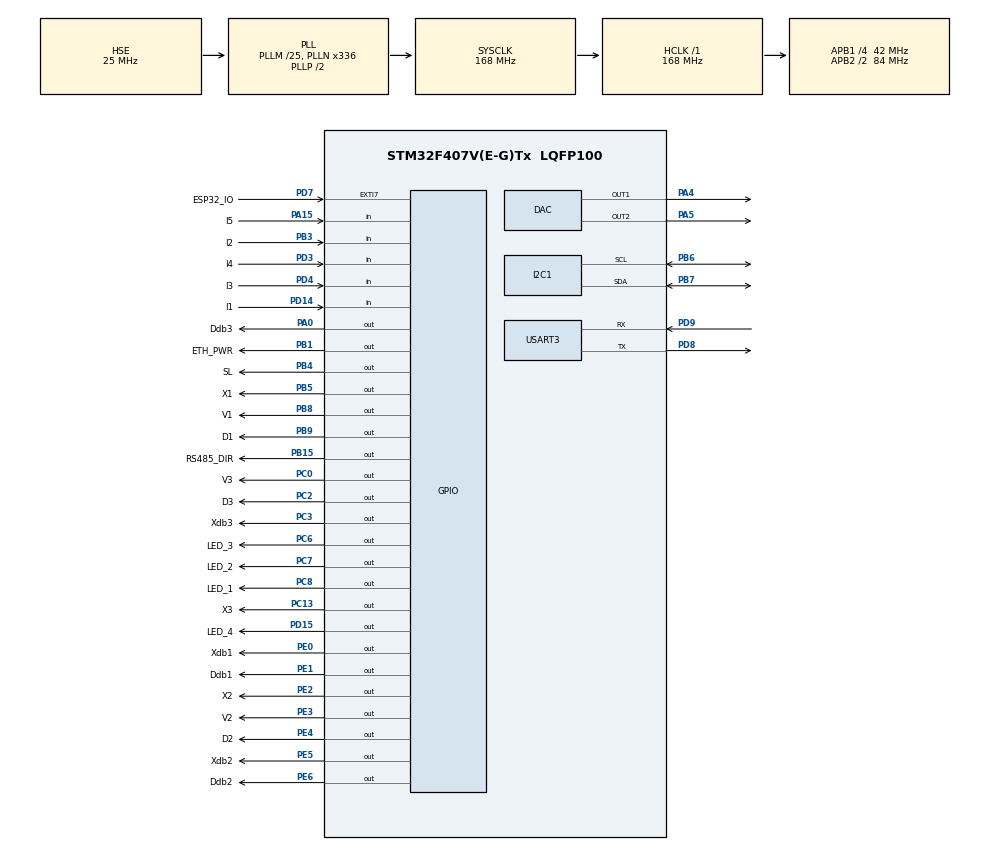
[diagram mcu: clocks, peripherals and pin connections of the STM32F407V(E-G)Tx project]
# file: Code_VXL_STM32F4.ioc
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FREERTOS.Tasks01=MainTask,0,128,StartMainTask,Default,NULL,Dynamic,NULL,NULL;ConnectivityTas,-3,128,StartConnectivityTask,Default,NULL,Dynamic,NULL,NULL
Mcu.Family=STM32F4
Mcu.Name=STM32F407V(E-G)Tx
Mcu.Package=LQFP100
NVIC.PriorityGroup=NVIC_PRIORITYGROUP_4
NVIC.TIM7_IRQn=true\:5\:0\:false\:false\:true\:true\:true\:true\:true
NVIC.TIM8_TRG_COM_TIM14_IRQn=true\:15\:0\:false\:false\:true\:false\:false\:true\:true
NVIC.TimeBase=TIM8_TRG_COM_TIM14_IRQn
NVIC.TimeBaseIP=TIM14
NVIC.USART3_IRQn=true\:5\:0\:false\:false\:true\:true\:true\:true\:true
PA0-WKUP.GPIO_Label=Ddb3
PA0-WKUP.Signal=GPIO_Output
PA1.Signal=ETH_REF_CLK
PA10.Signal=USART1_RX
PA13.Mode=Serial_Wire
PA13.Signal=SYS_JTMS-SWDIO
PA14.Mode=Serial_Wire
PA14.Signal=SYS_JTCK-SWCLK
PA15.GPIO_Label=I5
PA15.Signal=GPIO_Input
PA2.Signal=ETH_MDIO
PA3.Signal=ADCx_IN3
PA4.Signal=COMP_DAC1_group
PA5.Signal=COMP_DAC2_group
PA6.Signal=ADCx_IN6
PA7.Signal=ETH_CRS_DV
PA9.Signal=USART1_TX
PB1.GPIO_Label=ETH_PWR
PB1.Signal=GPIO_Output
PB11.Signal=ETH_TX_EN
PB12.Signal=ETH_TXD0
PB13.Signal=ETH_TXD1
PB15.GPIO_Label=RS485_DIR
PB15.Signal=GPIO_Output
PB3.GPIO_Label=I2
PB3.Signal=GPIO_Input
PB4.GPIO_Label=SL
PB4.Signal=GPIO_Output
PB5.GPIO_Label=X1
PB5.Signal=GPIO_Output
PB6.Mode=I2C
PB6.Signal=I2C1_SCL
PB7.Mode=I2C
PB7.Signal=I2C1_SDA
PB8.GPIO_Label=V1
PB8.Signal=GPIO_Output
PB9.GPIO_Label=D1
PB9.Signal=GPIO_Output
PC0.GPIO_Label=V3
PC0.Signal=GPIO_Output
PC13-ANTI_TAMP.GPIO_Label=X3
PC13-ANTI_TAMP.Signal=GPIO_Output
PC14-OSC32_IN.Mode=LSE-External-Oscillator
PC14-OSC32_IN.Signal=RCC_OSC32_IN
PC15-OSC32_OUT.Mode=LSE-External-Oscillator
PC15-OSC32_OUT.Signal=RCC_OSC32_OUT
PC2.GPIO_Label=D3
PC2.Signal=GPIO_Output
PC3.GPIO_Label=Xdb3
PC3.Signal=GPIO_Output
PC4.Signal=ETH_RXD0
PC5.Signal=ETH_RXD1
PC6.GPIO_Label=LED_3
PC6.Signal=GPIO_Output
PC7.GPIO_Label=LED_2
PC7.Signal=GPIO_Output
PC8.GPIO_Label=LED_1
PC8.Signal=GPIO_Output
PD14.GPIO_Label=I1
PD14.Signal=GPIO_Input
PD15.GPIO_Label=LED_4
PD15.Signal=GPIO_Output
PD3.GPIO_Label=I4
PD3.Signal=GPIO_Input
PD4.GPIO_Label=I3
PD4.Signal=GPIO_Input
PD5.Signal=USART2_TX
PD6.Signal=USART2_RX
PD7.GPIO_Label=ESP32_IO
PD7.Signal=GPXTI7
PD8.Mode=Asynchronous
PD8.Signal=USART3_TX
PD9.Mode=Asynchronous
PD9.Signal=USART3_RX
PE0.GPIO_Label=Xdb1
PE0.Signal=GPIO_Output
PE1.GPIO_Label=Ddb1
PE1.Signal=GPIO_Output
PE2.GPIO_Label=X2
PE2.Signal=GPIO_Output
PE3.GPIO_Label=V2
PE3.Signal=GPIO_Output
PE4.GPIO_Label=D2
PE4.Signal=GPIO_Output
PE5.GPIO_Label=Xdb2
PE5.Signal=GPIO_Output
PE6.GPIO_Label=Ddb2
PE6.Signal=GPIO_Output
PH0-OSC_IN.Mode=HSE-External-Oscillator
PH0-OSC_IN.Signal=RCC_OSC_IN
PH1-OSC_OUT.Mode=HSE-External-Oscillator
PH1-OSC_OUT.Signal=RCC_OSC_OUT
ProjectManager.HeapSize=0x200
ProjectManager.StackSize=0x1000
ProjectManager.TargetToolchain=MDK-ARM V5
RCC.48MHZClocksFreq_Value=84000000
RCC.AHBFreq_Value=168000000
RCC.APB1CLKDivider=RCC_HCLK_DIV4
RCC.APB1Freq_Value=42000000
RCC.APB1TimFreq_Value=84000000
RCC.APB2CLKDivider=RCC_HCLK_DIV2
RCC.APB2Freq_Value=84000000
RCC.APB2TimFreq_Value=168000000
RCC.CortexFreq_Value=168000000
RCC.HCLKFreq_Value=168000000
RCC.HSE_VALUE=25000000
RCC.HSI_VALUE=16000000
RCC.PLLM=25
RCC.PLLN=336
RCC.PLLSourceVirtual=RCC_PLLSOURCE_HSE
RCC.RCC_RTC_Clock_Source=RCC_RTCCLKSOURCE_LSE
RCC.RCC_RTC_Clock_SourceVirtual=RCC_RTCCLKSOURCE_LSE
RCC.SYSCLKFreq_VALUE=168000000
RCC.SYSCLKSource=RCC_SYSCLKSOURCE_PLLCLK
RCC.VCOOutputFreq_Value=336000000
RTC.Date=14
RTC.Month=RTC_MONTH_APRIL
RTC.WeekDay=RTC_WEEKDAY_TUESDAY
RTC.Year=26
SH.ADCx_IN3.0=ADC1_IN3
SH.ADCx_IN6.0=ADC1_IN6
SH.COMP_DAC1_group.0=DAC_OUT1,DAC_OUT1
SH.COMP_DAC2_group.0=DAC_OUT2,DAC_OUT2
TIM7.Period=8400
USART3.VirtualMode=VM_ASYNC
VP_FREERTOS_VS_CMSIS_V1.Mode=CMSIS_V1
VP_RTC_VS_RTC_Activate.Mode=RTC_Enabled
VP_RTC_VS_RTC_Calendar.Mode=RTC_Calendar
VP_SYS_VS_tim14.Mode=TIM14
VP_TIM7_VS_ClockSourceINT.Mode=Enable_Timer
board=custom

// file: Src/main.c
/* USER CODE BEGIN Header */
/**
  ******************************************************************************
  * @file           : main.c
  * @brief          : Main program body
  ******************************************************************************
  * @attention
  *
  * Copyright (c) 2026 STMicroelectronics.
  * All rights reserved.
  *
  * This software is licensed under terms that can be found in the LICENSE file
  * in the root directory of this software component.
  * If no LICENSE file comes with this software, it is provided AS-IS.
  *
  ******************************************************************************
  */
/* USER CODE END Header */
#include "main.h"
#include "cmsis_os.h"

/* USER CODE BEGIN Includes */
#include <string.h>
#include "board_io.h"
#include "app_digital_input.h"
#include "app_rs485.h"
#include "app_DGT.h"
#include "app_I2CvsESP32.h"
#include "app_WeconHMI.h"
#include "app_flash.h"
/* USER CODE END Includes */

/* USER CODE BEGIN PD */
	#define I2C_FRAME_SIZE 22U

	#define TIME_2_5S_COUNT   25000u   // 2.5s / 0.1ms
	#define TIME_5S_COUNT     50000u   // 5s / 0.1ms
	#define TIME_10S_COUNT    100000u  // 10s / 0.1ms
/* USER CODE END PD */

DAC_HandleTypeDef hdac;

I2C_HandleTypeDef hi2c1;

RTC_HandleTypeDef hrtc;

TIM_HandleTypeDef htim7;

UART_HandleTypeDef huart3;

osThreadId MainTaskHandle;
osThreadId ConnectivityTasHandle;
/* USER CODE BEGIN PV */

// I2C variables
  uint8_t txData[22] = "";
  uint8_t I2C_Count = 150;

// RTC variables
  RTC_TimeTypeDef setTime = {0};
  RTC_DateTypeDef setDate = {0};
  RTC_TimeTypeDef getTime = {0};
  RTC_DateTypeDef getDate = {0};

// DGT variables
  DGT_Settings_t  g_dgtData = {0};
  volatile uint16_t g_input_ok = 0, g_ResetRTC_count = 0;
	volatile uint32_t g_dgt_count = 0, g_delay_count = 0;
  volatile uint32_t g_Walk_count;
	uint16_t g_realTime_m = 0, g_realTime_h = 0;
  uint8_t g_Light_Status = 0;
  uint8_t g_Voltage_H = 0, g_Voltage_L = 0;
  uint8_t g_Current_H = 0, g_Current_L = 0;

// DAC variables
	float g_dac_voltage = 1.5f;
	uint32_t g_dac_value;
	const uint32_t DAC_MAXDIGITALVALUE_12BIT = 0xfff;
	const uint32_t DAC_MAXDIGITALVALUE_8BIT  = 0xff;
	const float Vref = 3.3f;

// input filer variables
  static volatile uint8_t tim7_1ms_div = 0u;
  uint8_t I1_F, I2_F, I3_F, I4_F, I5_F;

/* USER CODE END PV */

void SystemClock_Config(void);
static void MX_GPIO_Init(void);
static void MX_TIM7_Init(void);
static void MX_I2C1_Init(void);
static void MX_RTC_Init(void);
static void MX_DAC_Init(void);
static void MX_USART3_UART_Init(void);
void StartMainTask(void const * argument);
void StartConnectivityTask(void const * argument);

int main(void)
{

  /* MCU Configuration--------------------------------------------------------*/

  /* Reset of all peripherals, Initializes the Flash interface and the Systick. */
  HAL_Init();

  /* Configure the system clock */
  SystemClock_Config();

  /* Initialize all configured peripherals */
  MX_GPIO_Init();
  MX_TIM7_Init();
  MX_I2C1_Init();
  MX_RTC_Init();
  MX_DAC_Init();
  MX_USART3_UART_Init();
  /* USER CODE BEGIN 2 */
	// common
	HAL_TIM_Base_Start_IT(&htim7);
	HAL_DAC_Start(&hdac, DAC_CHANNEL_1);
	HAL_DAC_Start(&hdac, DAC_CHANNEL_2);

	// Read settings from Flash app
	(void)AppFlash_LoadSettings(&g_dgtData);
	HAL_Delay(1);

	// App init
	AppDigitalInput_Init();
	AppRs485_Config_t rs485_cfg = {
		.huart    = &huart3,
		.dir_port = RS485_DIR_GPIO_Port,
		.dir_pin  = RS485_DIR_Pin,
		.slave_id = APP_RS485_HMI_ID,
	};
	AppRs485_Init(&rs485_cfg);

  // AppI2CvsESP32_Config_t i2c_esp32_cfg = {
  //   .hi2c = &hi2c1,
  //   .slave_addr_7bit = APP_I2CVSESP32_ADDR_7BIT,
  //   .timeout_ms = 100U,
  // };
  // AppI2CvsESP32_Init(&i2c_esp32_cfg);

	// Ethernet
	ETH_PWR_0;

  /* USER CODE END 2 */

  /* Create the thread(s) */
  /* definition and creation of MainTask */
  osThreadDef(MainTask, StartMainTask, osPriorityNormal, 0, 128);
  MainTaskHandle = osThreadCreate(osThread(MainTask), NULL);

  /* definition and creation of ConnectivityTas */
  osThreadDef(ConnectivityTas, StartConnectivityTask, osPriorityIdle, 0, 128);
  ConnectivityTasHandle = osThreadCreate(osThread(ConnectivityTas), NULL);

  /* Start scheduler */
  osKernelStart();

  /* We should never get here as control is now taken by the scheduler */

  /* Infinite loop */
  while (1)
  {

  }
}

void SystemClock_Config(void)
{
  RCC_OscInitTypeDef RCC_OscInitStruct = {0};
  RCC_ClkInitTypeDef RCC_ClkInitStruct = {0};

  /** Configure the main internal regulator output voltage
  */
  __HAL_RCC_PWR_CLK_ENABLE();
  __HAL_PWR_VOLTAGESCALING_CONFIG(PWR_REGULATOR_VOLTAGE_SCALE1);

  /** Initializes the RCC Oscillators according to the specified parameters
  * in the RCC_OscInitTypeDef structure.
  */
  RCC_OscInitStruct.OscillatorType = RCC_OSCILLATORTYPE_HSE|RCC_OSCILLATORTYPE_LSE;
  RCC_OscInitStruct.HSEState = RCC_HSE_ON;
  RCC_OscInitStruct.LSEState = RCC_LSE_ON;
  RCC_OscInitStruct.PLL.PLLState = RCC_PLL_ON;
  RCC_OscInitStruct.PLL.PLLSource = RCC_PLLSOURCE_HSE;
  RCC_OscInitStruct.PLL.PLLM = 25;
  RCC_OscInitStruct.PLL.PLLN = 336;
  RCC_OscInitStruct.PLL.PLLP = RCC_PLLP_DIV2;
  RCC_OscInitStruct.PLL.PLLQ = 4;
  if (HAL_RCC_OscConfig(&RCC_OscInitStruct) != HAL_OK)
  {
    Error_Handler();
  }

  /** Initializes the CPU, AHB and APB buses clocks
  */
  RCC_ClkInitStruct.ClockType = RCC_CLOCKTYPE_HCLK|RCC_CLOCKTYPE_SYSCLK
                              |RCC_CLOCKTYPE_PCLK1|RCC_CLOCKTYPE_PCLK2;
  RCC_ClkInitStruct.SYSCLKSource = RCC_SYSCLKSOURCE_PLLCLK;
  RCC_ClkInitStruct.AHBCLKDivider = RCC_SYSCLK_DIV1;
  RCC_ClkInitStruct.APB1CLKDivider = RCC_HCLK_DIV4;
  RCC_ClkInitStruct.APB2CLKDivider = RCC_HCLK_DIV2;

  if (HAL_RCC_ClockConfig(&RCC_ClkInitStruct, FLASH_LATENCY_5) != HAL_OK)
  {
    Error_Handler();
  }
}

static void MX_DAC_Init(void)
{

  DAC_ChannelConfTypeDef sConfig = {0};

  /** DAC Initialization
  */
  hdac.Instance = DAC;
  if (HAL_DAC_Init(&hdac) != HAL_OK)
  {
    Error_Handler();
  }

  /** DAC channel OUT1 config
  */
  sConfig.DAC_Trigger = DAC_TRIGGER_NONE;
  sConfig.DAC_OutputBuffer = DAC_OUTPUTBUFFER_ENABLE;
  if (HAL_DAC_ConfigChannel(&hdac, &sConfig, DAC_CHANNEL_1) != HAL_OK)
  {
    Error_Handler();
  }

  /** DAC channel OUT2 config
  */
  if (HAL_DAC_ConfigChannel(&hdac, &sConfig, DAC_CHANNEL_2) != HAL_OK)
  {
    Error_Handler();
  }

}

static void MX_I2C1_Init(void)
{

  hi2c1.Instance = I2C1;
  hi2c1.Init.ClockSpeed = 100000;
  hi2c1.Init.DutyCycle = I2C_DUTYCYCLE_2;
  hi2c1.Init.OwnAddress1 = 0;
  hi2c1.Init.AddressingMode = I2C_ADDRESSINGMODE_7BIT;
  hi2c1.Init.DualAddressMode = I2C_DUALADDRESS_DISABLE;
  hi2c1.Init.OwnAddress2 = 0;
  hi2c1.Init.GeneralCallMode = I2C_GENERALCALL_DISABLE;
  hi2c1.Init.NoStretchMode = I2C_NOSTRETCH_DISABLE;
  if (HAL_I2C_Init(&hi2c1) != HAL_OK)
  {
    Error_Handler();
  }

}

static void MX_RTC_Init(void)
{

  RTC_TimeTypeDef sTime = {0};
  RTC_DateTypeDef sDate = {0};

  /** Initialize RTC Only
  */
  hrtc.Instance = RTC;
  hrtc.Init.HourFormat = RTC_HOURFORMAT_24;
  hrtc.Init.AsynchPrediv = 127;
  hrtc.Init.SynchPrediv = 255;
  hrtc.Init.OutPut = RTC_OUTPUT_DISABLE;
  hrtc.Init.OutPutPolarity = RTC_OUTPUT_POLARITY_HIGH;
  hrtc.Init.OutPutType = RTC_OUTPUT_TYPE_OPENDRAIN;
  if (HAL_RTC_Init(&hrtc) != HAL_OK)
  {
    Error_Handler();
  }

  /* USER CODE BEGIN Check_RTC_BKUP */
uint32_t bkp = HAL_RTCEx_BKUPRead(&hrtc, RTC_BKP_DR1);
  if (bkp != 0x12) {
  /* USER CODE END Check_RTC_BKUP */

  /** Initialize RTC and set the Time and Date
  */
  sTime.Hours = 0x0;
  sTime.Minutes = 0x0;
  sTime.Seconds = 0x0;
  sTime.DayLightSaving = RTC_DAYLIGHTSAVING_NONE;
  sTime.StoreOperation = RTC_STOREOPERATION_RESET;
  if (HAL_RTC_SetTime(&hrtc, &sTime, RTC_FORMAT_BCD) != HAL_OK)
  {
    Error_Handler();
  }
  sDate.WeekDay = RTC_WEEKDAY_TUESDAY;
  sDate.Month = RTC_MONTH_APRIL;
  sDate.Date = 0x14;
  sDate.Year = 0x26;

  if (HAL_RTC_SetDate(&hrtc, &sDate, RTC_FORMAT_BCD) != HAL_OK)
  {
    Error_Handler();
  }
  /* USER CODE BEGIN RTC_Init 2 */
	HAL_RTCEx_BKUPWrite(&hrtc, RTC_BKP_DR1, 0x12);
  }

  /* USER CODE END RTC_Init 2 */

}

static void MX_TIM7_Init(void)
{

  TIM_MasterConfigTypeDef sMasterConfig = {0};

  htim7.Instance = TIM7;
  htim7.Init.Prescaler = 0;
  htim7.Init.CounterMode = TIM_COUNTERMODE_UP;
  htim7.Init.Period = 8400;
  htim7.Init.AutoReloadPreload = TIM_AUTORELOAD_PRELOAD_DISABLE;
  if (HAL_TIM_Base_Init(&htim7) != HAL_OK)
  {
    Error_Handler();
  }
  sMasterConfig.MasterOutputTrigger = TIM_TRGO_RESET;
  sMasterConfig.MasterSlaveMode = TIM_MASTERSLAVEMODE_DISABLE;
  if (HAL_TIMEx_MasterConfigSynchronization(&htim7, &sMasterConfig) != HAL_OK)
  {
    Error_Handler();
  }

}

static void MX_USART3_UART_Init(void)
{

  huart3.Instance = USART3;
  huart3.Init.BaudRate = 115200;
  huart3.Init.WordLength = UART_WORDLENGTH_8B;
  huart3.Init.StopBits = UART_STOPBITS_1;
  huart3.Init.Parity = UART_PARITY_NONE;
  huart3.Init.Mode = UART_MODE_TX_RX;
  huart3.Init.HwFlowCtl = UART_HWCONTROL_NONE;
  huart3.Init.OverSampling = UART_OVERSAMPLING_16;
  if (HAL_UART_Init(&huart3) != HAL_OK)
  {
    Error_Handler();
  }

}

static void MX_GPIO_Init(void)
{
  GPIO_InitTypeDef GPIO_InitStruct = {0};

  /* GPIO Ports Clock Enable */
  __HAL_RCC_GPIOE_CLK_ENABLE();
  __HAL_RCC_GPIOC_CLK_ENABLE();
  __HAL_RCC_GPIOH_CLK_ENABLE();
  __HAL_RCC_GPIOA_CLK_ENABLE();
  __HAL_RCC_GPIOB_CLK_ENABLE();
  __HAL_RCC_GPIOD_CLK_ENABLE();

  /*Configure GPIO pin Output Level */
  HAL_GPIO_WritePin(GPIOE, X2_Pin|V2_Pin|D2_Pin|Xdb2_Pin
                          |Ddb2_Pin|Xdb1_Pin|Ddb1_Pin, GPIO_PIN_RESET);

  /*Configure GPIO pin Output Level */
  HAL_GPIO_WritePin(GPIOC, X3_Pin|V3_Pin|D3_Pin|Xdb3_Pin
                          |LED_3_Pin|LED_2_Pin|LED_1_Pin, GPIO_PIN_RESET);

  /*Configure GPIO pin Output Level */
  HAL_GPIO_WritePin(Ddb3_GPIO_Port, Ddb3_Pin, GPIO_PIN_RESET);

  /*Configure GPIO pin Output Level */
  HAL_GPIO_WritePin(GPIOB, ETH_PWR_Pin|RS485_DIR_Pin|SL_Pin|X1_Pin
                          |V1_Pin|D1_Pin, GPIO_PIN_RESET);

  /*Configure GPIO pin Output Level */
  HAL_GPIO_WritePin(LED_4_GPIO_Port, LED_4_Pin, GPIO_PIN_RESET);

  /*Configure GPIO pins : X2_Pin V2_Pin D2_Pin Xdb2_Pin
                           Ddb2_Pin Xdb1_Pin Ddb1_Pin */
  GPIO_InitStruct.Pin = X2_Pin|V2_Pin|D2_Pin|Xdb2_Pin
                          |Ddb2_Pin|Xdb1_Pin|Ddb1_Pin;
  GPIO_InitStruct.Mode = GPIO_MODE_OUTPUT_PP;
  GPIO_InitStruct.Pull = GPIO_NOPULL;
  GPIO_InitStruct.Speed = GPIO_SPEED_FREQ_LOW;
  HAL_GPIO_Init(GPIOE, &GPIO_InitStruct);

  /*Configure GPIO pins : X3_Pin V3_Pin D3_Pin Xdb3_Pin
                           LED_3_Pin LED_2_Pin LED_1_Pin */
  GPIO_InitStruct.Pin = X3_Pin|V3_Pin|D3_Pin|Xdb3_Pin
                          |LED_3_Pin|LED_2_Pin|LED_1_Pin;
  GPIO_InitStruct.Mode = GPIO_MODE_OUTPUT_PP;
  GPIO_InitStruct.Pull = GPIO_NOPULL;
  GPIO_InitStruct.Speed = GPIO_SPEED_FREQ_LOW;
  HAL_GPIO_Init(GPIOC, &GPIO_InitStruct);

  /*Configure GPIO pin : Ddb3_Pin */
  GPIO_InitStruct.Pin = Ddb3_Pin;
  GPIO_InitStruct.Mode = GPIO_MODE_OUTPUT_PP;
  GPIO_InitStruct.Pull = GPIO_NOPULL;
  GPIO_InitStruct.Speed = GPIO_SPEED_FREQ_LOW;
  HAL_GPIO_Init(Ddb3_GPIO_Port, &GPIO_InitStruct);

  /*Configure GPIO pins : PA1 PA2 PA7 */
  GPIO_InitStruct.Pin = GPIO_PIN_1|GPIO_PIN_2|GPIO_PIN_7;
  GPIO_InitStruct.Mode = GPIO_MODE_AF_PP;
  GPIO_InitStruct.Pull = GPIO_NOPULL;
  GPIO_InitStruct.Speed = GPIO_SPEED_FREQ_VERY_HIGH;
  GPIO_InitStruct.Alternate = GPIO_AF11_ETH;
  HAL_GPIO_Init(GPIOA, &GPIO_InitStruct);

  /*Configure GPIO pins : PA3 PA6 */
  GPIO_InitStruct.Pin = GPIO_PIN_3|GPIO_PIN_6;
  GPIO_InitStruct.Mode = GPIO_MODE_ANALOG;
  GPIO_InitStruct.Pull = GPIO_NOPULL;
  HAL_GPIO_Init(GPIOA, &GPIO_InitStruct);

  /*Configure GPIO pins : PC4 PC5 */
  GPIO_InitStruct.Pin = GPIO_PIN_4|GPIO_PIN_5;
  GPIO_InitStruct.Mode = GPIO_MODE_AF_PP;
  GPIO_InitStruct.Pull = GPIO_NOPULL;
  GPIO_InitStruct.Speed = GPIO_SPEED_FREQ_VERY_HIGH;
  GPIO_InitStruct.Alternate = GPIO_AF11_ETH;
  HAL_GPIO_Init(GPIOC, &GPIO_InitStruct);

  /*Configure GPIO pins : ETH_PWR_Pin RS485_DIR_Pin SL_Pin X1_Pin
                           V1_Pin D1_Pin */
  GPIO_InitStruct.Pin = ETH_PWR_Pin|RS485_DIR_Pin|SL_Pin|X1_Pin
                          |V1_Pin|D1_Pin;
  GPIO_InitStruct.Mode = GPIO_MODE_OUTPUT_PP;
  GPIO_InitStruct.Pull = GPIO_NOPULL;
  GPIO_InitStruct.Speed = GPIO_SPEED_FREQ_LOW;
  HAL_GPIO_Init(GPIOB, &GPIO_InitStruct);

  /*Configure GPIO pins : PB11 PB12 PB13 */
  GPIO_InitStruct.Pin = GPIO_PIN_11|GPIO_PIN_12|GPIO_PIN_13;
  GPIO_InitStruct.Mode = GPIO_MODE_AF_PP;
  GPIO_InitStruct.Pull = GPIO_NOPULL;
  GPIO_InitStruct.Speed = GPIO_SPEED_FREQ_VERY_HIGH;
  GPIO_InitStruct.Alternate = GPIO_AF11_ETH;
  HAL_GPIO_Init(GPIOB, &GPIO_InitStruct);

  /*Configure GPIO pins : I1_Pin I4_Pin I3_Pin */
  GPIO_InitStruct.Pin = I1_Pin|I4_Pin|I3_Pin;
  GPIO_InitStruct.Mode = GPIO_MODE_INPUT;
  GPIO_InitStruct.Pull = GPIO_NOPULL;
  HAL_GPIO_Init(GPIOD, &GPIO_InitStruct);

  /*Configure GPIO pin : LED_4_Pin */
  GPIO_InitStruct.Pin = LED_4_Pin;
  GPIO_InitStruct.Mode = GPIO_MODE_OUTPUT_PP;
  GPIO_InitStruct.Pull = GPIO_NOPULL;
  GPIO_InitStruct.Speed = GPIO_SPEED_FREQ_LOW;
  HAL_GPIO_Init(LED_4_GPIO_Port, &GPIO_InitStruct);

  /*Configure GPIO pins : PA9 PA10 */
  GPIO_InitStruct.Pin = GPIO_PIN_9|GPIO_PIN_10;
  GPIO_InitStruct.Mode = GPIO_MODE_AF_PP;
  GPIO_InitStruct.Pull = GPIO_NOPULL;
  GPIO_InitStruct.Speed = GPIO_SPEED_FREQ_VERY_HIGH;
  GPIO_InitStruct.Alternate = GPIO_AF7_USART1;
  HAL_GPIO_Init(GPIOA, &GPIO_InitStruct);

  /*Configure GPIO pin : I5_Pin */
  GPIO_InitStruct.Pin = I5_Pin;
  GPIO_InitStruct.Mode = GPIO_MODE_INPUT;
  GPIO_InitStruct.Pull = GPIO_NOPULL;
  HAL_GPIO_Init(I5_GPIO_Port, &GPIO_InitStruct);

  /*Configure GPIO pins : PD5 PD6 */
  GPIO_InitStruct.Pin = GPIO_PIN_5|GPIO_PIN_6;
  GPIO_InitStruct.Mode = GPIO_MODE_AF_PP;
  GPIO_InitStruct.Pull = GPIO_NOPULL;
  GPIO_InitStruct.Speed = GPIO_SPEED_FREQ_VERY_HIGH;
  GPIO_InitStruct.Alternate = GPIO_AF7_USART2;
  HAL_GPIO_Init(GPIOD, &GPIO_InitStruct);

  /*Configure GPIO pin : ESP32_IO_Pin */
  GPIO_InitStruct.Pin = ESP32_IO_Pin;
  GPIO_InitStruct.Mode = GPIO_MODE_IT_RISING;
  GPIO_InitStruct.Pull = GPIO_NOPULL;
  HAL_GPIO_Init(ESP32_IO_GPIO_Port, &GPIO_InitStruct);

  /*Configure GPIO pin : I2_Pin */
  GPIO_InitStruct.Pin = I2_Pin;
  GPIO_InitStruct.Mode = GPIO_MODE_INPUT;
  GPIO_InitStruct.Pull = GPIO_NOPULL;
  HAL_GPIO_Init(I2_GPIO_Port, &GPIO_InitStruct);

}

/* USER CODE BEGIN 4 */
void HAL_UART_RxCpltCallback(UART_HandleTypeDef *huart)
{
	AppRs485_RxCpltCallback(huart);
}

static uint8_t Check_Time_Event(uint32_t period_count, uint32_t *time_prev){
    uint32_t time_now = g_delay_count;

    if ((uint32_t)(time_now - *time_prev) >= period_count)
    {
        *time_prev += period_count;
        return 1u;
    }

    return 0u;
}

/* USER CODE END 4 */

void StartMainTask(void const * argument)
{
  /* USER CODE BEGIN 5 */

  /* Infinite loop */
  for(;;)
  {
    // Get Digital input status
    I1_F = AppDigitalInput_Check(DIGITAL_INPUT_SWITCH_1);
    I2_F = AppDigitalInput_Check(DIGITAL_INPUT_SWITCH_2);
    I3_F = AppDigitalInput_Check(DIGITAL_INPUT_SWITCH_3);
    I4_F = AppDigitalInput_Check(DIGITAL_INPUT_SWITCH_4);
    I5_F = AppDigitalInput_Check(DIGITAL_INPUT_SWITCH_5);

    if (g_dac_voltage>9.9) g_dac_voltage = 9.9f;
    g_dac_value = (uint32_t)((g_dac_voltage/3.0f) * 4095.0f / Vref); // g_dac_voltage 0..10V
    HAL_DAC_SetValue(&hdac, DAC_CHANNEL_1, DAC_ALIGN_12B_R, g_dac_value);
    HAL_DAC_SetValue(&hdac, DAC_CHANNEL_2, DAC_ALIGN_12B_R, g_dac_value);

    AppDGT2P_Process(&g_dgtData);
    g_input_ok++;
    if (g_ResetRTC_count <= 6000) g_ResetRTC_count++;
    osDelay(10);
  }
  /* USER CODE END 5 */
}

void StartConnectivityTask(void const * argument)
{
  /* USER CODE BEGIN StartConnectivityTask */
	uint16_t (*RS485_regbank)[APP_RS485_REG_PER_GROUP] = AppRs485_GetRegBank(); // from app_rs485.c: s_regbank[APP_RS485_REG_GROUPS][APP_RS485_REG_PER_GROUP];
  static uint32_t time_prev_10s = 0u;
  /* Infinite loop */
  for(;;)
  {
    /////////////RESET WathDog timer//////////////////////////////
    //IWDG->KR = 0xAAAA; // Reload Counter prevents watchdog reset
    //////////////////////////////////////////////////////////////

    HAL_RTC_GetTime(&hrtc, &getTime, RTC_FORMAT_BIN);
    HAL_RTC_GetDate(&hrtc, &getDate, RTC_FORMAT_BIN);
    g_realTime_m  = (uint16_t)getTime.Minutes;
    g_realTime_h = (uint16_t)getTime.Hours;

    if (Check_Time_Event(TIME_10S_COUNT, &time_prev_10s)){ // I2C_SendFrame each 10s
      // AppI2CvsESP32_Process();
      }
    //////////////////////////////////////////////////////////////
    AppRs485_Task();
    AppWeconHMI_Process(RS485_regbank, &g_dgtData);
    //////////////////////////////////////////////////////////////

    osDelay(10);
  }
  /* USER CODE END StartConnectivityTask */
}

void HAL_TIM_PeriodElapsedCallback(TIM_HandleTypeDef *htim)
{
  if (htim->Instance == TIM14)
  {
    HAL_IncTick();
  }
  /* USER CODE BEGIN Callback 1 */
if (htim->Instance == TIM7){// 0.1 ms interrupt
    g_dgt_count ++;
	// if (g_dgt_count > Total_Time) g_dgt_count = 0U; // reset this count

	g_delay_count++;// no need to reset this count

	tim7_1ms_div++;
	if (tim7_1ms_div >= 10u){// Read Digital input
        tim7_1ms_div = 0u;
        AppDigitalInput_1msTask();
    }

  g_Walk_count++;
  if (g_Walk_count >= 10000u){g_Walk_count = 0u;}
  }
  /* USER CODE END Callback 1 */
}

void Error_Handler(void)
{
  __disable_irq();
  while (1)
  {
  }
}
